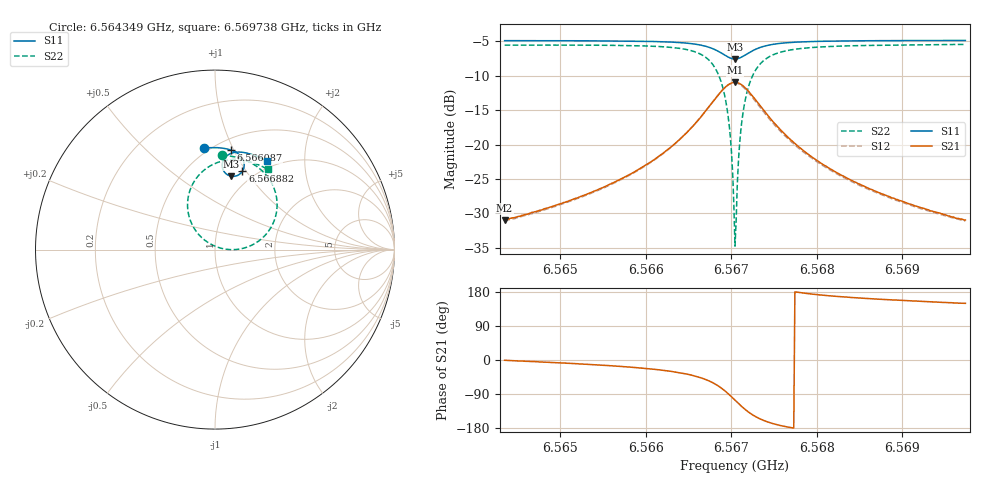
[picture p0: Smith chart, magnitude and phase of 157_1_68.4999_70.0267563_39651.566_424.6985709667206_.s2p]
#  HZ  S  RI  R  50.00
! Rohde & Schwarz Vector Network Analyzer
! Rohde-Schwarz,ZNB20-2Port,1311601062101988,3.16
! Created: UTC 3/20/2024, 4:55:37 PM
! freq[Hz]  re:S11  im:S11  re:S21  im:S21  re:S12  im:S12  re:S22  im:S22
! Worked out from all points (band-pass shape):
!   401 points, 6.564349 GHz to 6.569738 GHz, reference 50 ohm
!   highest |S21| = -10.95 dB at 6.567044 GHz (marker M1); lowest = -31.0 dB at 6.564349 GHz (marker M2)
!   |S21| within 3 dB of the highest: 6.566774 GHz to 6.567312 GHz (538.5 kHz wide, 0.0082 % of centre)
!   lowest |S11| = -7.6 dB at 6.567044 GHz (marker M3), VSWR 2.44, Z = 41.2 + j40.9 ohm
!   |S11| at or under -10 dB: nowhere
!   |S22| runs from -34.8 to -5.4 dB; largest |S21 - S12| = 0.014
!   S11 on the Smith chart (normalised r, x): 6.564349 GHz: 0.47, +0.78; 6.566087 GHz: 0.60, +0.98; 6.566882 GHz: 0.86, +0.96; 6.569738 GHz: 0.91, +1.32
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6.5643492e9  -0.0631 0.5657  0.0283 -0.000337  0.0278 -0.000928  0.038 0.5268
6.5652519e9  0.011 0.5681  0.0415 -0.00783  0.0407 -0.0084  0.1242 0.5129
6.5660872e9  0.0894 0.5542  0.0701 -0.0316  0.069 -0.0325  0.2341 0.4626
6.5661546e9  0.0965 0.5516  0.0742 -0.036  0.0729 -0.0368  0.2456 0.4539
6.566451e9  0.1309 0.5323  0.0953 -0.0688  0.0939 -0.0701  0.3047 0.3889
6.5666666e9  0.156 0.5008  0.1091 -0.1238  0.1067 -0.1263  0.3439 0.2827
6.5667878e9  0.1626 0.4693  0.1015 -0.179  0.0969 -0.1824  0.3351 0.1771
6.5668821e9  0.1531 0.4375  0.068 -0.2336  0.0602 -0.2366  0.2748 0.0749
6.566963e9  0.1271 0.4139  0.00635 -0.2715  -0.00482 -0.2715  0.1613 0.00824
6.5669899e9  0.1147 0.4096  -0.0205 -0.2771  -0.0325 -0.2754  0.1123 0.000141
6.5670303e9  0.0944 0.4083  -0.0634 -0.2757  -0.0756 -0.2707  0.0356 0.00716
6.5670438e9  0.0876 0.4094  -0.0777 -0.2726  -0.0896 -0.2663  0.0108 0.0147
6.5670573e9  0.081 0.4114  -0.0915 -0.2676  -0.103 -0.2605  -0.0129 0.0249
6.5670707e9  0.0747 0.414  -0.1048 -0.2617  -0.1156 -0.2535  -0.0354 0.0373
6.5670977e9  0.0632 0.4212  -0.1287 -0.246  -0.1379 -0.2363  -0.0751 0.0678
6.5671381e9  0.0502 0.4356  -0.1567 -0.2166  -0.1632 -0.2053  -0.1191 0.1235
6.567192e9  0.0412 0.4574  -0.1779 -0.173  -0.1806 -0.1615  -0.1486 0.2025
6.5672594e9  0.0413 0.4828  -0.1836 -0.1233  -0.183 -0.1133  -0.1496 0.2897
6.5675154e9  0.081 0.5324  -0.1383 -0.0253  -0.1353 -0.0212  -0.0461 0.4539
6.5679465e9  0.1415 0.5431  -0.0804 0.00873  -0.0787 0.00987  0.085 0.5005
6.5688492e9  0.2259 0.5227  -0.0391 0.0152  -0.0382 0.0153  0.2156 0.4826
6.5697384e9  0.2917 0.491  -0.0244 0.0144  -0.0237 0.0146  0.2937 0.4465
